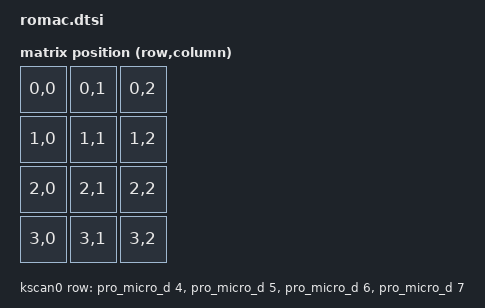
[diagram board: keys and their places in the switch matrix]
/*
 * Copyright (c) 2020 Pete Johansen, Richard Jones
 *
 * SPDX-License-Identifier: MIT
 */

#include <dt-bindings/zmk/matrix-transform.h>

/ {
	chosen {
		zmk,kscan = &kscan0;
		zmk,matrix_transform = &default_transform;
	};

	default_transform: keymap_transform_0 {
		compatible = "zmk,matrix-transform";
		columns = <3>;
		rows = <4>;
// | SW1  | SW2  | SW3  |
// | SW4  | SW5  | SW6  |
// | SW7  | SW8  | SW9  |
// | SW10 | SW11 | SW12 |
		map = <
RC(0,0) RC(0,1) RC(0,2)
RC(1,0) RC(1,1) RC(1,2)
RC(2,0) RC(2,1) RC(2,2)
RC(3,0) RC(3,1) RC(3,2)
		>;
	};

	kscan0: kscan {
		compatible = "zmk,kscan-gpio-matrix";
		label = "KSCAN";

		diode-direction = "col2row";
		row-gpios
			= <&pro_micro_d 4 (GPIO_ACTIVE_HIGH | GPIO_PULL_DOWN)>
			, <&pro_micro_d 5 (GPIO_ACTIVE_HIGH | GPIO_PULL_DOWN)>
			, <&pro_micro_d 6 (GPIO_ACTIVE_HIGH | GPIO_PULL_DOWN)>
			, <&pro_micro_d 7 (GPIO_ACTIVE_HIGH | GPIO_PULL_DOWN)>
			;

	};

	bt_unpair_combo: bt_unpair_combo {
		compatible = "zmk,bt-unpair-combo";
	};

};

